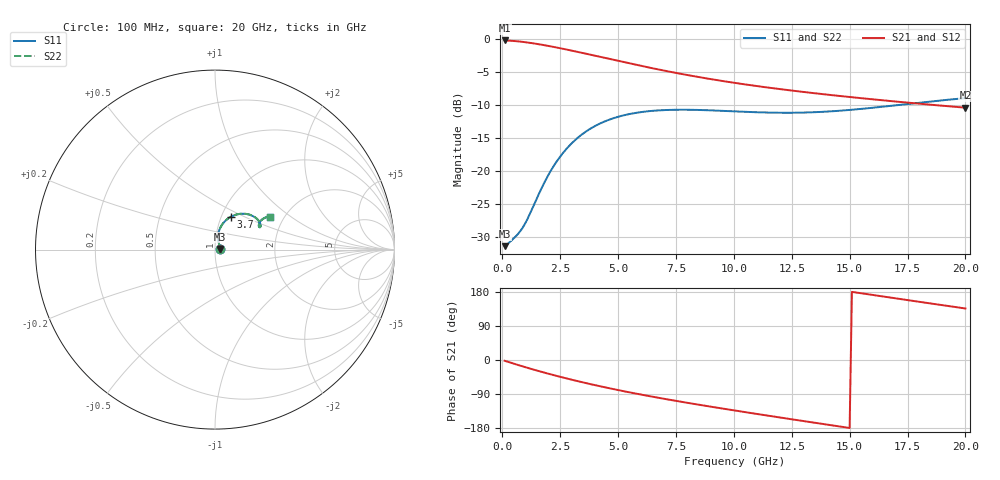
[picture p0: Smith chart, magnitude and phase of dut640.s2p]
! Touchstone file exported from HFSS 2024.1.0
!  File:  C:/UserFiles/LocalFiles/RDL_TSV_Batchsim/temp_RDL_TSV_640_1779806607.aedt
!  Generated:  11:01:29 PM May 26, 2026
!  Design:  RDL_TSV
!  Project:  temp_RDL_TSV_640_1779806607
!  Setup:  Setup1
!  Solution:  Sweep
! Variables:
!  dtsv = 9.43um
!  hbump = 3um
!  htsv = 81.32um
!  ldown = 675.44um
!  lrdl = 268.48um
!  p = 40
!  p1 = 52.06um
!  rhole = 10um
!  subl = 3100.24um
!  t = 450um
!  tdown = 2.07um
!  trdl = 2.07um
!  viad = 10um
!  wdown = 21.72um
!  wrdl = 16.94um
!  xbump = 18um
# GHz S MA R 50.000000
! Terminal data exported
! Port[1] = TM1_1_T1
! Port[2] = TM1_4_T1
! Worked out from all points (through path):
!   200 points, 100 MHz to 20 GHz, reference 50 ohm
!   highest |S21| = -0.24 dB at 100 MHz (marker M1); lowest = -10.4 dB at 20 GHz (marker M2)
!   group delay of S21, straight-line fit = 29.3 ps
!   lowest |S11| = -31.3 dB at 100 MHz (marker M3), VSWR 1.06, Z = 52.8 + j0.368 ohm
!   |S11| at or under -10 dB: start of sweep to 17.11 GHz
!   |S22| runs from -31.3 to -9.0 dB; largest |S21 - S12| = 1.7e-14
!   S11 on the Smith chart (normalised r, x): 100 MHz: 1.06, +0.01; 3.7 GHz: 1.11, +0.42; 20 GHz: 1.69, +0.71
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0.1  0.02707 7.4  0.9727 -2.0  0.9727 -2.0  0.02707 7.4
! Gamma 0 0 0 0
! Port Impedance 50 0 50 0
0.6  0.03236 36.9  0.9605 -11.7  0.9605 -11.7  0.03235 36.9
0.9  0.03784 52.9  0.9481 -17.2  0.9481 -17.2  0.03783 53.0
1.4  0.05726 72.1  0.9217 -26.2  0.9217 -26.2  0.05729 72.2
1.8  0.08089 77.6  0.897 -33.0  0.897 -33.0  0.08096 77.7
2.2  0.1079 77.8  0.8705 -39.6  0.8705 -39.6  0.1081 77.8
2.6  0.1357 75.2  0.8429 -46.0  0.8429 -46.0  0.1359 75.3
3  0.1625 71.5  0.815 -52.0  0.815 -52.0  0.1628 71.6
3.5  0.1929 66.2  0.7802 -59.3  0.7802 -59.3  0.1933 66.3
3.7  0.2039 64.0  0.7664 -62.2  0.7664 -62.2  0.2043 64.1
4.4  0.2366 56.6  0.7197 -71.6  0.7197 -71.6  0.237 56.7
5.2  0.2631 49.0  0.6698 -81.8  0.6698 -81.8  0.2636 49.1
6  0.2796 42.6  0.6245 -91.3  0.6245 -91.3  0.2802 42.6
6.8  0.2883 37.3  0.5842 -100.3  0.5842 -100.3  0.289 37.3
8.4  0.2903 30.1  0.5173 -117.1  0.5173 -117.1  0.2911 30.1
10.1  0.2827 26.7  0.463 -133.9  0.463 -133.9  0.2835 26.7
11.7  0.2767 26.8  0.4233 -149.0  0.4233 -149.0  0.2775 26.8
13.4  0.2785 29.0  0.3896 -164.7  0.3896 -164.7  0.2792 28.9
15  0.2901 31.2  0.3634 -179.4  0.3634 -179.4  0.2906 31.1
16.7  0.3106 32.6  0.3396 165.3  0.3396 165.3  0.3109 32.5
18.4  0.3347 32.4  0.3189 150.1  0.3189 150.1  0.3349 32.3
20  0.3564 31.1  0.3018 135.9  0.3018 135.9  0.3564 31.0
